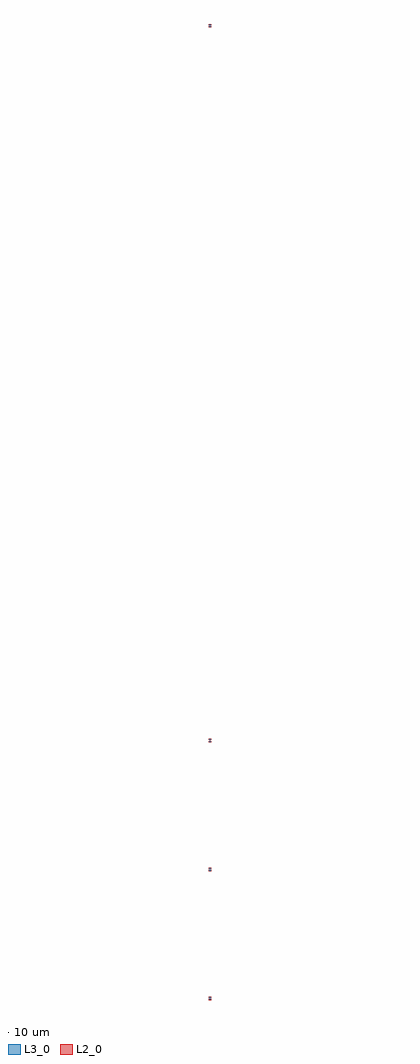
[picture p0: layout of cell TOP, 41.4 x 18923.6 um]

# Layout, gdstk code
import gdstk
lib = gdstk.Library(unit=1e-6, precision=1e-09)
def P(c, l, *ps):  # polygons
    for p in ps: c.add(gdstk.Polygon(p, *l))
L2_0 = (2, 0)
L3_0 = (3, 0)

q23gap = lib.new_cell('Q23GAP')
P(q23gap, L2_0, [(779.3,2253.3),(779.3,2274),(798.85,2284),(799.35,2284),(799.35,2286),(799.55,2286),(799.55,2284),(780,2274),(780,2254),(820,2254),(820,2274),(800.45,2284),(800.45,2286),(797.3,2286),(797.3,2286.2),(796.8,2286.2),(779.3,2296.2),(779.3,2316.2),(780,2316.2),(780,2296.2),(797.5,2286.2),(802.5,2286.2),(820,2296.2),(820,2316.2),(779.3,2316.2),(779.3,2316.9),(820.7,2316.9),(820.7,2296.2),(803.2,2286.2),(802.7,2286.2),(802.7,2286),(800.65,2286),(800.65,2284),(801.15,2284),(820.7,2274),(820.7,2253.3)],
  [(779.3,4753.3),(779.3,4774),(798.85,4784),(799.35,4784),(799.35,4786),(799.55,4786),(799.55,4784),(780,4774),(780,4754),(820,4754),(820,4774),(800.45,4784),(800.45,4786),(797.3,4786),(797.3,4786.2),(796.8,4786.2),(779.3,4796.2),(779.3,4816.2),(780,4816.2),(780,4796.2),(797.5,4786.2),(802.5,4786.2),(820,4796.2),(820,4816.2),(779.3,4816.2),(779.3,4816.9),(820.7,4816.9),(820.7,4796.2),(803.2,4786.2),(802.7,4786.2),(802.7,4786),(800.65,4786),(800.65,4784),(801.15,4784),(820.7,4774),(820.7,4753.3)],
  [(779.3,7253.3),(779.3,7274),(798.85,7284),(799.35,7284),(799.35,7286),(799.55,7286),(799.55,7284),(780,7274),(780,7254),(820,7254),(820,7274),(800.45,7284),(800.45,7286),(797.3,7286),(797.3,7286.2),(796.8,7286.2),(779.3,7296.2),(779.3,7316.2),(780,7316.2),(780,7296.2),(797.5,7286.2),(802.5,7286.2),(820,7296.2),(820,7316.2),(779.3,7316.2),(779.3,7316.9),(820.7,7316.9),(820.7,7296.2),(803.2,7286.2),(802.7,7286.2),(802.7,7286),(800.65,7286),(800.65,7284),(801.15,7284),(820.7,7274),(820.7,7253.3)],
  [(779.3,21113.3),(779.3,21134),(798.85,21144),(799.35,21144),(799.35,21146),(799.55,21146),(799.55,21144),(780,21134),(780,21114),(820,21114),(820,21134),(800.45,21144),(800.45,21146),(797.3,21146),(797.3,21146.2),(796.8,21146.2),(779.3,21156.2),(779.3,21176.2),(780,21176.2),(780,21156.2),(797.5,21146.2),(802.5,21146.2),(820,21156.2),(820,21176.2),(779.3,21176.2),(779.3,21176.9),(820.7,21176.9),(820.7,21156.2),(803.2,21146.2),(802.7,21146.2),(802.7,21146),(800.65,21146),(800.65,21144),(801.15,21144),(820.7,21134),(820.7,21113.3)])

q23pin = lib.new_cell('Q23PIN')
P(q23pin, L3_0, [(780,2254),(780,2274),(799.55,2284),(799.55,2286),(800.45,2286),(800.45,2284),(820,2274),(820,2254)],
  [(797.5,2286.2),(780,2296.2),(780,2316.2),(820,2316.2),(820,2296.2),(802.5,2286.2)],
  [(780,4754),(780,4774),(799.55,4784),(799.55,4786),(800.45,4786),(800.45,4784),(820,4774),(820,4754)],
  [(797.5,4786.2),(780,4796.2),(780,4816.2),(820,4816.2),(820,4796.2),(802.5,4786.2)],
  [(780,7254),(780,7274),(799.55,7284),(799.55,7286),(800.45,7286),(800.45,7284),(820,7274),(820,7254)],
  [(797.5,7286.2),(780,7296.2),(780,7316.2),(820,7316.2),(820,7296.2),(802.5,7286.2)],
  [(780,21114),(780,21134),(799.55,21144),(799.55,21146),(800.45,21146),(800.45,21144),(820,21134),(820,21114)],
  [(797.5,21146.2),(780,21156.2),(780,21176.2),(820,21176.2),(820,21156.2),(802.5,21146.2)])

q23 = lib.new_cell('Q23')

top = lib.new_cell('TOP')
top.add(gdstk.Reference(q23gap, (0,0)))
top.add(gdstk.Reference(q23pin, (0,0)))
top.add(gdstk.Reference(q23, (0,0)))

lib.write_gds('TOP.gds')
